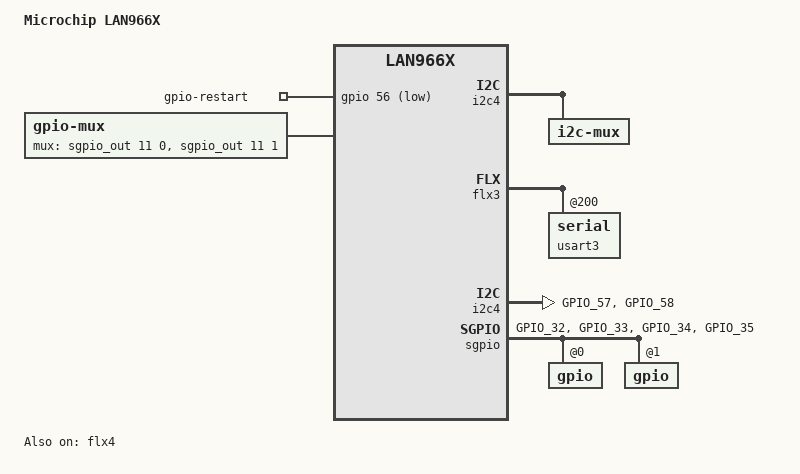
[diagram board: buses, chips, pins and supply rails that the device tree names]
// SPDX-License-Identifier: (GPL-2.0+ OR MIT)
/*
 * lan966x-mesa-pcb8309.dts - Device Tree file for PCB8309
 */
/dts-v1/;
#include "lan966x.dtsi"

/ {
	model = "Microchip LAN966X";
	compatible = "microchip,lan966x-sunrise", "microchip,lan966x";

	aliases {
		i2c102 = &i2c102;
		i2c103 = &i2c103;
	};

	gpio-restart {
		compatible = "gpio-restart";
		gpios = <&gpio 56 GPIO_ACTIVE_LOW>;
		priority = <200>;
	};

	mux: mux-controller {
		compatible = "gpio-mux";
		#mux-control-cells = <0>;

		mux-gpios = <&sgpio_out 11 0 GPIO_ACTIVE_HIGH>, /* p11b0 */
			    <&sgpio_out 11 1 GPIO_ACTIVE_HIGH>; /* p11b1 */
	};

	i2c-mux {
		compatible = "i2c-mux";
		#address-cells = <1>;
		#size-cells = <0>;
		mux-controls = <&mux>;
		i2c-parent = <&i2c4>;

		i2c102: i2c-sfp@1 {
			reg = <1>;
		};

		i2c103: i2c-sfp@2 {
			reg = <2>;
		};
	};
};

&aes {
	status = "disabled"; /* Reserved by secure OS */
};

&flx3 {
	atmel,flexcom-mode = <ATMEL_FLEXCOM_MODE_USART>;
	status = "okay";

	usart3: serial@200 {
		pinctrl-0 = <&fc3_b_pins>;
		pinctrl-names = "default";
		status = "okay";
	};
};

&flx4 {
	atmel,flexcom-mode = <ATMEL_FLEXCOM_MODE_TWI>;
	status = "okay";

	i2c4: i2c@600 {
		pinctrl-0 = <&fc4_b_pins>;
		pinctrl-names = "default";
		i2c-analog-filter;
		i2c-digital-filter;
		i2c-digital-filter-width-ns = <35>;
		i2c-sda-hold-time-ns = <1500>;
		status = "okay";
	};
};

&gpio {
	fc3_b_pins: fc3-b-pins {
		/* RX, TX */
		pins = "GPIO_52", "GPIO_53";
		function = "fc3_b";
	};

	fc4_b_pins: fcb4-i2c-pins {
		/* RXD, TXD */
		pins = "GPIO_57", "GPIO_58";
		function = "fc4_b";
	};

	sgpio_a_pins: sgpio-pins {
		/* SCK, D0, D1, LD */
		pins = "GPIO_32", "GPIO_33", "GPIO_34", "GPIO_35";
		function = "sgpio_a";
	};
};

&reset {
	phy0-syscon = <&phy0_ctrl>;
	phy1-syscon = <&phy1_ctrl>;
	chip-syscon = <&chip_ctrl>;
};

&sgpio_in {
	/delete-property/ interrupts;
	/delete-property/ interrupt-controller;
	/delete-property/ #interrupt-cells;
};

&sgpio {
	pinctrl-0 = <&sgpio_a_pins>;
	pinctrl-names = "default";
	status = "okay";
	microchip,sgpio-port-ranges = <0 3>, <8 11>;
	gpio@0 {
		ngpios = <64>;
	};
	gpio@1 {
		ngpios = <64>;
	};
};

&soc {
	chip_ctrl: syscon@e2010000 {
		compatible = "microchip,lan966x-chip-syscon", "syscon";
		reg = <0xe2010010 0x00000014>;
	};

	phy0_ctrl: syscon@e00a0600 {
		compatible = "microchip,lan966x-switch-syscon", "syscon";
		reg = <0xe00a0600 0x00000080>;
	};

	phy1_ctrl: syscon@e00a0a00 {
		compatible = "microchip,lan966x-switch-syscon", "syscon";
		reg = <0xe00a0a00 0x00000080>;
	};
};

&uio0 {
	interrupts = <GIC_SPI 19 IRQ_TYPE_LEVEL_HIGH>,
		     <GIC_SPI 10 IRQ_TYPE_LEVEL_HIGH>,
		     <GIC_SPI 11 IRQ_TYPE_LEVEL_HIGH>,
		     <GIC_SPI  9 IRQ_TYPE_LEVEL_HIGH>,
		     <GIC_SPI 80 IRQ_TYPE_LEVEL_HIGH>,
		     <GIC_SPI 81 IRQ_TYPE_LEVEL_HIGH>,
		     <GIC_SPI 18 IRQ_TYPE_LEVEL_HIGH>;
	interrupt-names = "master", "ptp_sync", "ptp_rdy",
			  "oam_vop", "cu_phy0", "cu_phy1",
			  "sgpio";
};
